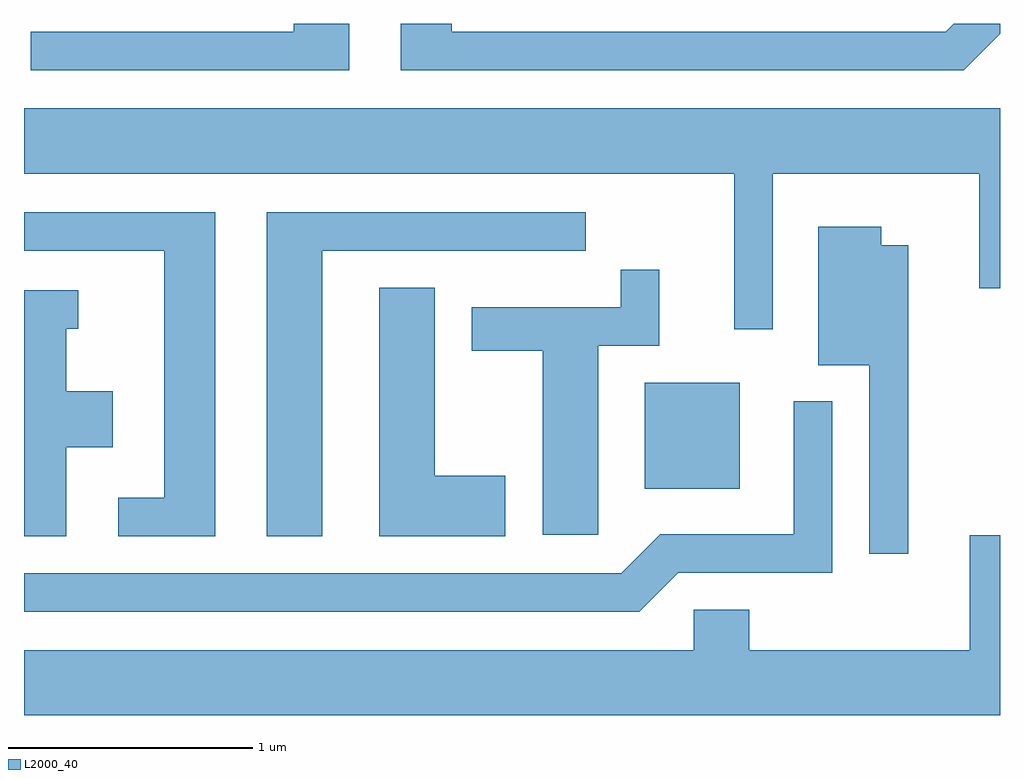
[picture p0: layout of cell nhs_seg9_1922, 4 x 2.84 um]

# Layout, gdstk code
import gdstk
lib = gdstk.Library(unit=1e-6, precision=1e-09)
def R(c, l, rs):  # rectangles x0, y0, x1, y1
    for r in rs: c.add(gdstk.rectangle(r[:2], r[2:], *l))
def P(c, l, *ps):  # polygons
    for p in ps: c.add(gdstk.Polygon(p, *l))
L2000_40 = (2000, 40)

nhs_seg9_1922 = lib.new_cell('nhs_seg9_1922')
R(nhs_seg9_1922, L2000_40, [(244.156,1990.526,244.544,1990.959)])
P(nhs_seg9_1922, L2000_40, [(245.611,1992.39),(245.611,1992.432),(245.422,1992.432),(245.389,1992.399),(243.364,1992.399),(243.364,1992.432),(243.156,1992.432),(243.156,1992.241),(245.462,1992.241)],
  [(242.944,1992.432),(242.716,1992.432),(242.716,1992.399),(241.638,1992.399),(241.638,1992.241),(242.944,1992.241)],
  [(244.679,1991.816),(245.526,1991.816),(245.526,1991.348),(245.611,1991.348),(245.611,1992.084),(241.611,1992.084),(241.611,1991.816),(244.521,1991.816),(244.521,1991.178),(244.679,1991.178)],
  [(242.394,1991.659),(241.611,1991.659),(241.611,1991.501),(242.186,1991.501),(242.186,1990.489),(241.998,1990.489),(241.998,1990.331),(242.394,1990.331)],
  [(242.834,1991.501),(243.913,1991.501),(243.913,1991.659),(242.606,1991.659),(242.606,1990.331),(242.834,1990.331)],
  [(245.234,1991.524),(245.124,1991.524),(245.124,1991.599),(244.866,1991.599),(244.866,1991.031),(245.076,1991.031),(245.076,1990.258),(245.234,1990.258)],
  [(243.964,1991.111),(244.214,1991.111),(244.214,1991.423),(244.056,1991.423),(244.056,1991.269),(243.446,1991.269),(243.446,1991.091),(243.736,1991.091),(243.736,1990.336),(243.964,1990.336)],
  [(243.584,1990.579),(243.294,1990.579),(243.294,1991.349),(243.066,1991.349),(243.066,1990.331),(243.584,1990.331)],
  [(241.784,1990.696),(241.974,1990.696),(241.974,1990.924),(241.784,1990.924),(241.784,1991.181),(241.833,1991.181),(241.833,1991.339),(241.611,1991.339),(241.611,1990.331),(241.784,1990.331)],
  [(244.292,1990.181),(244.924,1990.181),(244.924,1990.883),(244.766,1990.883),(244.766,1990.339),(244.219,1990.339),(244.059,1990.179),(241.611,1990.179),(241.611,1990.021),(244.132,1990.021)],
  [(245.611,1990.334),(245.486,1990.334),(245.486,1989.864),(244.584,1989.864),(244.584,1990.029),(244.356,1990.029),(244.356,1989.864),(241.611,1989.864),(241.611,1989.596),(245.611,1989.596)])

lib.write_gds('nhs_seg9_1922.gds')
